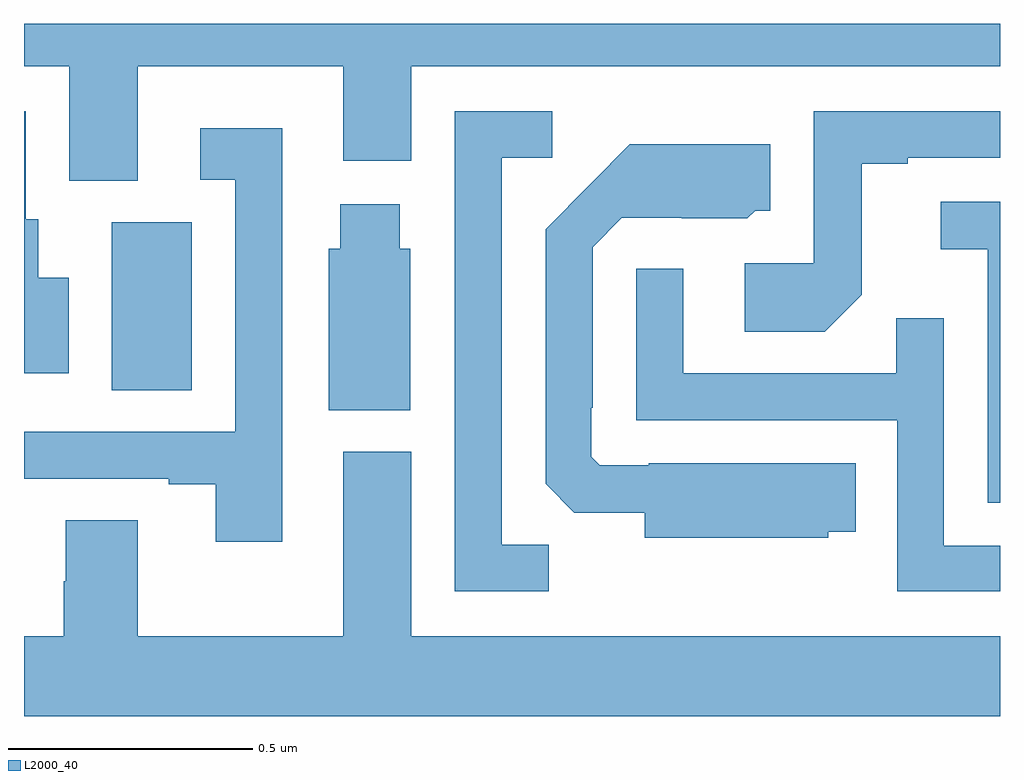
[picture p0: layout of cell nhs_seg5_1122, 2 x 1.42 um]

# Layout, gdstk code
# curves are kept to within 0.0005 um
import gdstk
lib = gdstk.Library(unit=1e-6, precision=1e-09)
def R(c, l, rs):  # rectangles x0, y0, x1, y1
    for r in rs: c.add(gdstk.rectangle(r[:2], r[2:], *l))
def P(c, l, *ps):  # polygons
    for p in ps: c.add(gdstk.Polygon(p, *l))
L2000_40 = (2000, 40)

nhs_seg5_1122 = lib.new_cell('nhs_seg5_1122')
R(nhs_seg5_1122, L2000_40, [(125.18,904.048,125.344,904.392)])
P(nhs_seg5_1122, L2000_40, [(125.233,904.712),(125.654,904.712),(125.654,904.518),(125.794,904.518),(125.794,904.712),(127,904.712),(127,904.799),(125,904.799),(125,904.712),(125.093,904.712),(125.093,904.477),(125.233,904.477)],
  [(126.717,904.244),(126.717,904.512),(126.811,904.512),(126.811,904.524),(127,904.524),(127,904.62),(126.618,904.62),(126.618,904.308),(126.477,904.308),(126.477,904.168),(126.641,904.168)],
  [(126.075,903.731),(125.979,903.731),(125.979,904.524),(126.082,904.524),(126.082,904.62),(125.883,904.62),(125.883,903.636),(126.075,903.636)],
  [(125.092,904.279),(125.029,904.279),(125.029,904.398),(125.004,904.398),(125.004,904.62),(125,904.62),(125,904.083),(125.092,904.083)],
  [(125.529,904.585),(125.361,904.585),(125.361,904.479),(125.433,904.479),(125.433,903.963),(125,903.963),(125,903.867),(125.297,903.867),(125.297,903.855),(125.393,903.855),(125.393,903.738),(125.529,903.738)],
  [(126.648,903.758),(126.704,903.758),(126.704,903.898),(126.28,903.898),(126.28,903.894),(126.18,903.894),(126.162,903.912),(126.162,904.012),(126.165,904.012),(126.165,904.341),(126.225,904.401),(126.348,904.401),(126.348,904.4),(126.482,904.4),(126.498,904.416),(126.529,904.416),(126.529,904.552),(126.241,904.552),(126.069,904.378),(126.069,903.856),(126.128,903.797),(126.272,903.797),(126.272,903.746),(126.648,903.746)],
  [(127,904.434),(126.879,904.434),(126.879,904.337),(126.975,904.337),(126.975,903.817),(127,903.817)],
  [(125.791,904.338),(125.77,904.338),(125.77,904.429),(125.648,904.429),(125.648,904.338),(125.624,904.338),(125.624,904.007),(125.791,904.007)],
  [(127,903.729),(126.885,903.729),(126.885,904.196),(126.787,904.196),(126.787,904.083),(126.351,904.083),(126.351,904.297),(126.255,904.297),(126.255,903.987),(126.789,903.987),(126.789,903.636),(127,903.636)],
  [(127,903.544),(125.794,903.544),(125.794,903.922),(125.654,903.922),(125.654,903.544),(125.233,903.544),(125.233,903.782),(125.086,903.782),(125.086,903.657),(125.081,903.657),(125.081,903.544),(125,903.544),(125,903.38),(127,903.38)])

lib.write_gds('nhs_seg5_1122.gds')
